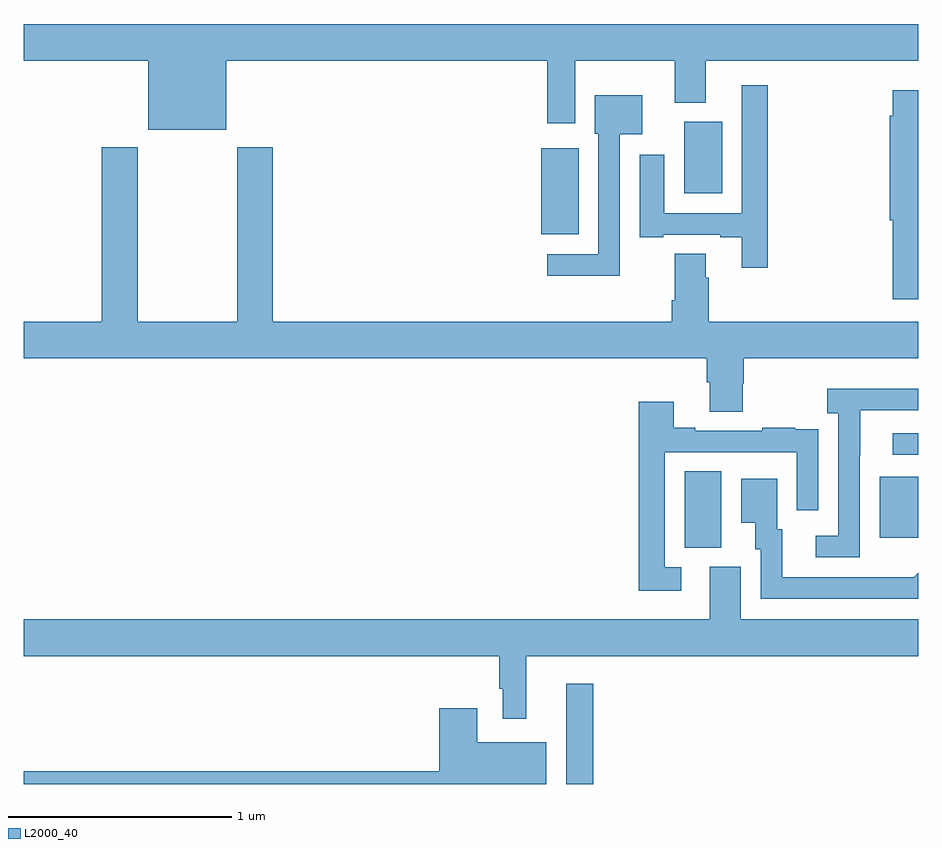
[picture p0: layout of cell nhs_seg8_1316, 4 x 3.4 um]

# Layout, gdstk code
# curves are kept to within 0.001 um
import gdstk
lib = gdstk.Library(unit=1e-6, precision=1e-09)
def R(c, l, rs):  # rectangles x0, y0, x1, y1
    for r in rs: c.add(gdstk.rectangle(r[:2], r[2:], *l))
def P(c, l, *ps):  # polygons
    for p in ps: c.add(gdstk.Polygon(p, *l))
L2000_40 = (2000, 40)

nhs_seg8_1316 = lib.new_cell('nhs_seg8_1316')
R(nhs_seg8_1316, L2000_40, [(195.425,1143.9,195.547,1144.348), (195.956,1144.957,196.12,1145.3), (196.829,1145.001,197,1145.275), (196.887,1145.373,197,1145.469), (195.314,1146.359,195.481,1146.745), (195.953,1146.542,196.123,1146.862)])
P(nhs_seg8_1316, L2000_40, [(193.906,1147.136),(195.341,1147.136),(195.341,1146.855),(195.466,1146.855),(195.466,1147.136),(195.911,1147.136),(195.911,1146.947),(196.051,1146.947),(196.051,1147.136),(197,1147.136),(197,1147.3),(193,1147.3),(193,1147.136),(193.556,1147.136),(193.556,1146.827),(193.906,1146.827)],
  [(196.328,1147.027),(196.212,1147.027),(196.212,1146.453),(195.865,1146.453),(195.865,1146.715),(195.755,1146.715),(195.755,1146.345),(195.859,1146.345),(195.859,1146.357),(196.115,1146.357),(196.115,1146.345),(196.211,1146.345),(196.211,1146.21),(196.328,1146.21)],
  [(197,1147.003),(196.886,1147.003),(196.886,1146.89),(196.874,1146.89),(196.874,1146.422),(196.886,1146.422),(196.886,1146.069),(197,1146.069)],
  [(195.666,1146.806),(195.766,1146.806),(195.766,1146.982),(195.554,1146.982),(195.554,1146.81),(195.57,1146.81),(195.57,1146.27),(195.342,1146.27),(195.342,1146.173),(195.666,1146.173)],
  [(196.215,1145.691),(196.22,1145.691),(196.22,1145.804),(197,1145.804),(197,1145.968),(196.064,1145.968),(196.064,1146.164),(196.051,1146.164),(196.051,1146.272),(195.911,1146.272),(195.911,1146.064),(195.899,1146.064),(195.899,1145.968),(194.114,1145.968),(194.114,1146.748),(193.954,1146.748),(193.954,1145.968),(193.509,1145.968),(193.509,1146.748),(193.349,1146.748),(193.349,1145.968),(193,1145.968),(193,1145.804),(196.055,1145.804),(196.055,1145.698),(196.067,1145.698),(196.067,1145.566),(196.215,1145.566)],
  [(196.74,1145.371),(196.741,1145.371),(196.741,1145.571),(197,1145.571),(197,1145.668),(196.593,1145.668),(196.593,1145.558),(196.644,1145.558),(196.644,1145.01),(196.542,1145.01),(196.542,1144.914),(196.74,1144.914)],
  [(195.94,1144.869),(195.867,1144.869),(195.867,1145.385),(196.458,1145.385),(196.458,1145.124),(196.554,1145.124),(196.554,1145.378),(196.553,1145.378),(196.553,1145.487),(196.451,1145.487),(196.451,1145.494),(196.303,1145.494),(196.303,1145.481),(196.003,1145.481),(196.003,1145.494),(195.907,1145.494),(195.907,1145.611),(195.751,1145.611),(195.751,1144.764),(195.94,1144.764)],
  [(197,1144.844),(196.981,1144.825),(196.393,1144.824),(196.393,1145.04),(196.369,1145.04),(196.369,1145.266),(196.208,1145.266),(196.208,1145.069),(196.271,1145.069),(196.271,1144.95),(196.296,1144.95),(196.296,1144.728),(197,1144.728)],
  [(195.247,1144.472),(197,1144.472),(197,1144.636),(196.207,1144.636),(196.207,1144.872),(196.067,1144.872),(196.067,1144.636),(193,1144.636),(193,1144.472),(195.126,1144.472),(195.126,1144.327),(195.143,1144.327),(195.143,1144.191),(195.247,1144.191)],
  [(195.337,1144.087),(195.028,1144.087),(195.028,1144.24),(194.858,1144.24),(194.858,1143.956),(193,1143.956),(193,1143.9),(195.337,1143.9)])

lib.write_gds('nhs_seg8_1316.gds')
